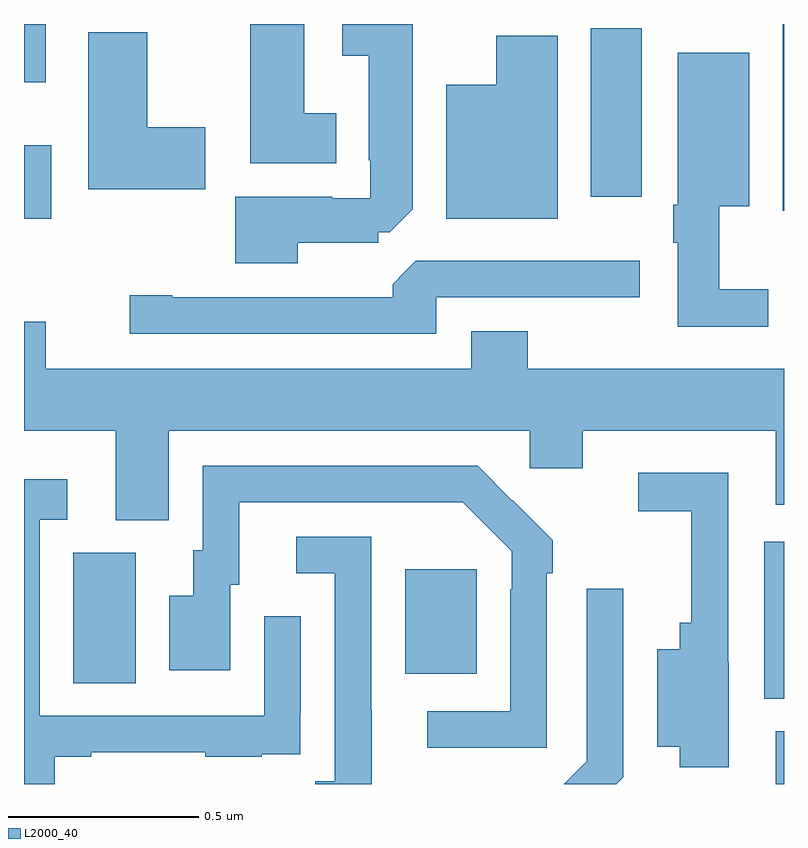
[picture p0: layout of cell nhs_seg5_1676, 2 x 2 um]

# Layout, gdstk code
import gdstk
lib = gdstk.Library(unit=1e-6, precision=1e-09)
def R(c, l, rs):  # rectangles x0, y0, x1, y1
    for r in rs: c.add(gdstk.rectangle(r[:2], r[2:], *l))
def P(c, l, *ps):  # polygons
    for p in ps: c.add(gdstk.Polygon(p, *l))
L2000_40 = (2000, 40)

nhs_seg5_1676 = lib.new_cell('nhs_seg5_1676')
R(nhs_seg5_1676, L2000_40, [(134.978,887.799,135,887.938), (134.948,888.023,135,888.436), (133.13,888.064,133.294,888.408), (134.003,888.089,134.191,888.364), (133,889.286,133.072,889.48), (134.997,889.308,135,889.799), (134.492,889.344,134.626,889.788), (133,889.646,133.057,889.799)])
P(nhs_seg5_1676, L2000_40, [(133.72,889.223),(133.932,889.223),(133.932,889.251),(133.963,889.251),(134.023,889.311),(134.023,889.799),(133.838,889.799),(133.838,889.715),(133.907,889.715),(133.907,889.441),(133.911,889.441),(133.911,889.341),(133.811,889.341),(133.811,889.345),(133.556,889.345),(133.556,889.169),(133.72,889.169)],
  [(133.822,889.564),(133.738,889.564),(133.738,889.799),(133.595,889.799),(133.595,889.433),(133.822,889.433)],
  [(133.477,889.527),(133.324,889.527),(133.324,889.777),(133.169,889.777),(133.169,889.364),(133.477,889.364)],
  [(134.404,889.768),(134.243,889.768),(134.243,889.639),(134.111,889.639),(134.111,889.286),(134.404,889.286)],
  [(134.959,889.101),(134.83,889.101),(134.83,889.319),(134.908,889.319),(134.908,889.723),(134.72,889.723),(134.72,889.323),(134.709,889.323),(134.709,889.223),(134.721,889.223),(134.721,889.002),(134.959,889.002)],
  [(134.085,889.08),(134.62,889.08),(134.62,889.176),(134.031,889.176),(134.005,889.15),(133.97,889.114),(133.97,889.08),(133.39,889.08),(133.39,889.085),(133.278,889.085),(133.278,888.984),(134.085,888.984)],
  [(133.381,888.728),(134.331,888.728),(134.331,888.63),(134.47,888.63),(134.47,888.728),(134.978,888.728),(134.978,888.534),(135,888.534),(135,888.892),(134.325,888.892),(134.325,888.991),(134.177,888.991),(134.177,888.892),(133.057,888.892),(133.057,889.016),(133,889.016),(133,888.728),(133.241,888.728),(133.241,888.493),(133.381,888.493)],
  [(134.376,888.353),(134.391,888.353),(134.391,888.441),(134.286,888.546),(134.285,888.545),(134.194,888.636),(133.47,888.636),(133.47,888.414),(133.445,888.414),(133.445,888.295),(133.382,888.295),(133.382,888.099),(133.543,888.099),(133.543,888.324),(133.567,888.324),(133.567,888.54),(134.155,888.54),(134.283,888.411),(134.283,888.311),(134.28,888.311),(134.28,887.991),(134.061,887.991),(134.061,887.895),(134.376,887.895)],
  [(134.854,888.119),(134.853,888.119),(134.853,888.618),(134.616,888.618),(134.616,888.517),(134.756,888.517),(134.756,888.223),(134.726,888.223),(134.726,888.154),(134.666,888.154),(134.666,887.897),(134.726,887.897),(134.726,887.843),(134.854,887.843)],
  [(133.081,887.871),(133.177,887.871),(133.177,887.883),(133.477,887.883),(133.477,887.871),(133.625,887.871),(133.625,887.877),(133.727,887.877),(133.727,887.986),(133.728,887.986),(133.728,888.241),(133.632,888.241),(133.632,887.979),(133.041,887.979),(133.041,888.495),(133.114,888.495),(133.114,888.601),(133,888.601),(133,887.799),(133.081,887.799)],
  [(133.915,887.993),(133.914,887.993),(133.914,888.45),(133.716,888.45),(133.716,888.354),(133.818,888.354),(133.818,887.806),(133.767,887.806),(133.767,887.799),(133.915,887.799)],
  [(134.577,887.817),(134.577,888.313),(134.481,888.313),(134.481,887.859),(134.421,887.799),(134.559,887.799)])

lib.write_gds('nhs_seg5_1676.gds')
